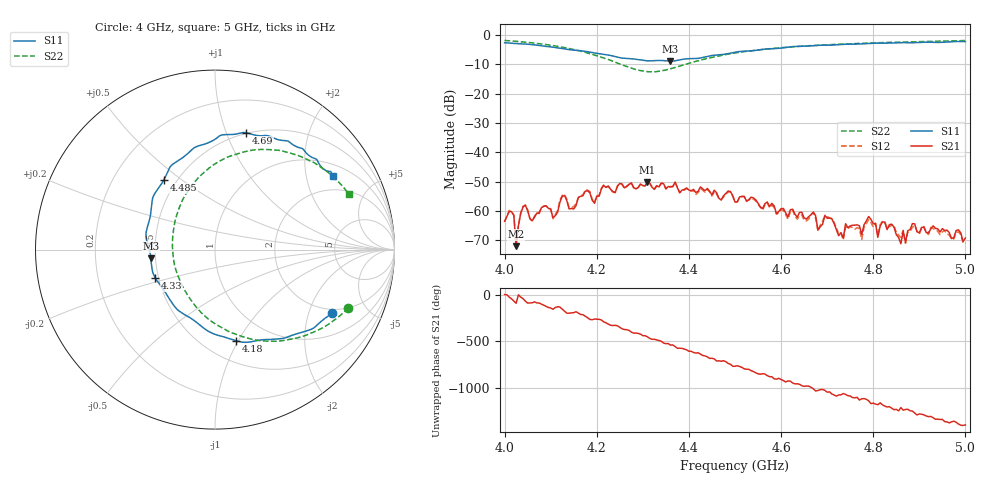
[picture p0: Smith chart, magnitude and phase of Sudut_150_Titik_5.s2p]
# Hz S RI R 50
! CMT, C1220, 16058040, 17.2.0/1
! Date: 15/08/2018 12:20:49
! Data: Format (Calibration Info)
! Freq  S11: Re/Im (F2)  S21: Re/Im (F2)  S12: Re/Im (F2)  S22: Re/Im (F2)
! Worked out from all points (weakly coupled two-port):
!   201 points, 4 GHz to 5 GHz, reference 50 ohm
!   highest |S21| = -50.11 dB at 4.31 GHz (marker M1); lowest = -72.0 dB at 4.025 GHz (marker M2)
!   lowest |S11| = -8.9 dB at 4.36 GHz (marker M3), VSWR 2.13, Z = 23.6 - j2.69 ohm
!   |S11| at or under -10 dB: nowhere
!   |S22| runs from -12.6 to -1.8 dB; largest |S21 - S12| = 0.00017
!   S11 on the Smith chart (normalised r, x): 4 GHz: 1.81, -2.86; 4.18 GHz: 0.70, -0.98; 4.33 GHz: 0.48, -0.17; 4.485 GHz: 0.43, +0.43; 4.69 GHz: 0.49, +1.18; 5 GHz: 1.40, +2.87
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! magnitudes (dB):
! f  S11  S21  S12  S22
! 4 GHz  -2.6  -63.5  -63.7  -1.8
! 4.02 GHz  -2.8  -61.5  -61.6  -2.1
! 4.025 GHz  -2.9  -72.0  -72.0  -2.1
! 4.04 GHz  -3.0  -58.7  -58.4  -2.3
! 4.105 GHz  -4.1  -62.3  -62.7  -3.6
! 4.125 GHz  -4.6  -55.1  -54.7  -4.1
! 4.17 GHz  -5.4  -54.8  -54.6  -5.7
! 4.18 GHz  -5.7  -53.2  -52.9  -6.1
! 4.31 GHz  -8.8  -50.1  -50.1  -12.5
! 4.33 GHz  -8.7  -51.5  -51.4  -12.5
! 4.335 GHz  -8.7  -51.8  -51.8  -12.4
! 4.36 GHz  -8.9  -51.8  -51.7  -11.5
! 4.485 GHz  -6.3  -53.2  -53.7  -6.5
! 4.5 GHz  -5.9  -57.0  -56.8  -6.1
! 4.67 GHz  -3.6  -60.4  -60.6  -3.5
! 4.69 GHz  -3.4  -64.6  -63.4  -3.4
! 4.735 GHz  -3.2  -69.2  -69.9  -3.0
! 4.79 GHz  -2.8  -61.9  -63.0  -2.7
! 4.835 GHz  -2.7  -64.7  -65.3  -2.5
! 4.86 GHz  -2.6  -71.2  -69.1  -2.4
! 4.885 GHz  -2.6  -64.3  -65.6  -2.3
! 5 GHz  -2.2  -69.3  -71.0  -1.9
